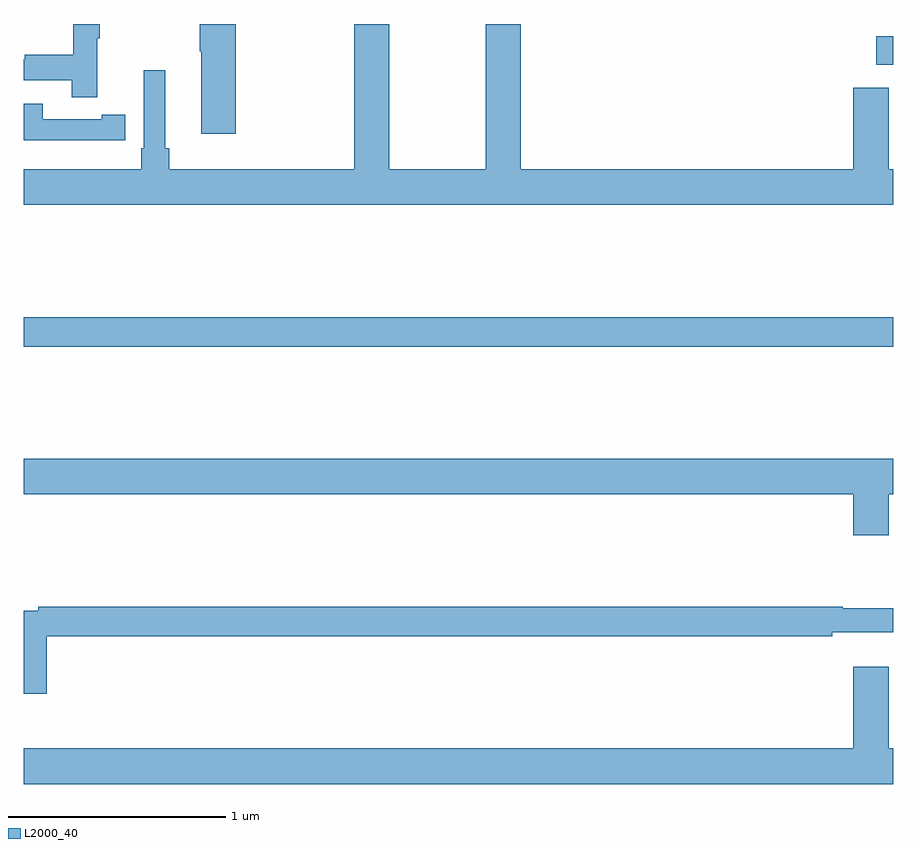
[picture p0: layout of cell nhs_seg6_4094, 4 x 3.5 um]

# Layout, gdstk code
import gdstk
lib = gdstk.Library(unit=1e-6, precision=1e-09)
def R(c, l, rs):  # rectangles x0, y0, x1, y1
    for r in rs: c.add(gdstk.rectangle(r[:2], r[2:], *l))
def P(c, l, *ps):  # polygons
    for p in ps: c.add(gdstk.Polygon(p, *l))
L2000_40 = (2000, 40)

nhs_seg6_4094 = lib.new_cell('nhs_seg6_4094')
R(nhs_seg6_4094, L2000_40, [(353,948.016,357,948.152), (356.922,949.313,357,949.443)])
P(nhs_seg6_4094, L2000_40, [(357,948.832),(356.98,948.832),(356.98,949.207),(356.816,949.207),(356.816,948.832),(355.286,948.832),(355.286,949.5),(355.126,949.5),(355.126,948.832),(354.681,948.832),(354.681,949.5),(354.521,949.5),(354.521,948.832),(353.669,948.832),(353.669,948.928),(353.65,948.928),(353.65,949.288),(353.553,949.288),(353.553,948.928),(353.54,948.928),(353.54,948.832),(353,948.832),(353,948.668),(357,948.668)],
  [(353.975,949.5),(353.809,949.5),(353.809,949.375),(353.816,949.375),(353.816,948.996),(353.975,948.996)],
  [(353.339,949.435),(353.35,949.435),(353.35,949.5),(353.229,949.5),(353.229,949.358),(353.005,949.358),(353.005,949.338),(353,949.338),(353,949.242),(353.221,949.242),(353.221,949.164),(353.339,949.164)],
  [(353.36,948.966),(353.468,948.966),(353.468,949.082),(353.36,949.082),(353.36,949.062),(353.088,949.062),(353.088,949.134),(353,949.134),(353,948.965),(353.36,948.965)],
  [(356.98,947.336),(357,947.336),(357,947.5),(353,947.5),(353,947.336),(356.816,947.336),(356.816,947.148),(356.98,947.148)],
  [(353.105,946.684),(356.72,946.684),(356.72,946.703),(357,946.703),(357,946.813),(356.768,946.813),(356.768,946.82),(353.068,946.82),(353.068,946.8),(353,946.8),(353,946.419),(353.105,946.419)],
  [(357,946.168),(356.98,946.168),(356.98,946.543),(356.816,946.543),(356.816,946.168),(353,946.168),(353,946.004),(357,946.004)])

lib.write_gds('nhs_seg6_4094.gds')
